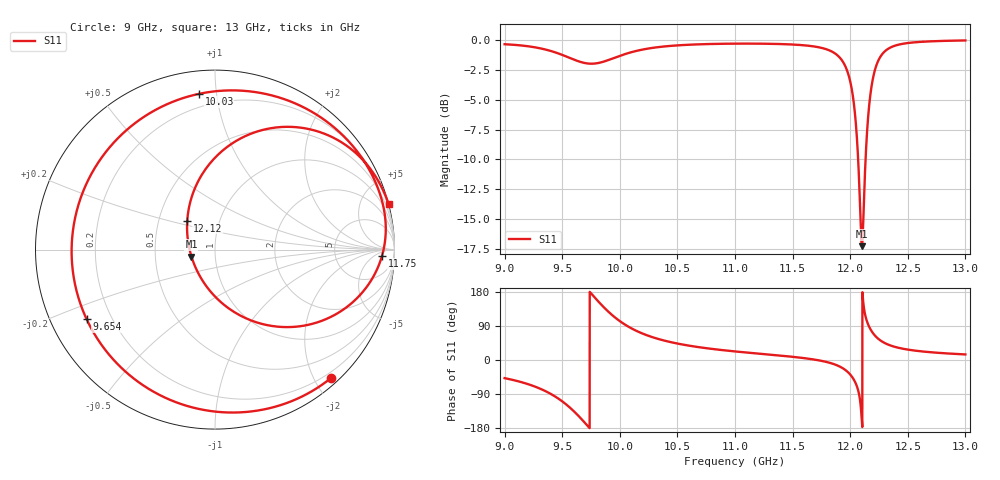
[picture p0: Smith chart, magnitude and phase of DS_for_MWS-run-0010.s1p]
! TOUCHSTONE file generated by CST DESIGN STUDIO
! Date and time: Tue Feb  4 18:03:08 2025
! Project name: C:\Work\MatlabApps\UnitCellOptimizationMatlab\CST\unitcell.cst
! Tree item: Tasks\Sweep1\SPara1\S-Parameters
! Header version: 2024
! Port assignment regex: !\s*Touchstone port\s*([0-9]+)\s*=\s*(CST MWS port|CST DES external port|CST DES block port)\s*(.+)\s* \(\"(.*)\"\)(\s*mode\s*([0-9]+))?.*
! Touchstone port assignment:
! Touchstone port 1 = CST DES external port 1 ("")
# GHz S MA R 50
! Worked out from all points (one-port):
!   4001 points, 9 GHz to 13 GHz, reference 50 ohm
!   lowest |S11| = -17.3 dB at 12.1 GHz (marker M1), VSWR 1.32, Z = 38.3 - j3 ohm
!   |S11| at or under -10 dB: 12.07 GHz to 12.13 GHz (64.35 MHz wide, 0.532 % of centre)
!   S11 on the Smith chart (normalised r, x): 9 GHz: 0.11, -2.25; 9.654 GHz: 0.11, -0.25; 10.03 GHz: 0.12, +0.89; 11.75 GHz: 22, -12; 12.12 GHz: 0.70, +0.24; 13 GHz: 0.00, +7.78
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9  0.9642 -47.9
9.266  0.9352 -70.5
9.398  0.9041 -89.0
9.5  0.8697 -109.1
9.577  0.8402 -128.4
9.654  0.8137 -151.5
9.727  0.7997 -176.0
9.798  0.8016 159.6
9.899  0.8267 127.9
10  0.8616 102.6
10.032  0.8722 95.9
10.243  0.9241 64.4
10.5  0.9535 43.4
11  0.9697 22.6
11.5  0.9614 8.4
11.75  0.931 -2.2
11.906  0.8507 -16.8
12  0.6731 -38.3
12.055  0.4109 -66.8
12.089  0.1797 -114.8
12.102  0.1367 -163.7
12.121  0.2237 133.7
12.161  0.5108 90.1
12.217  0.7584 63.7
12.267  0.8616 50.6
12.325  0.9195 41.2
12.5  0.9754 27.5
13  1 14.6
